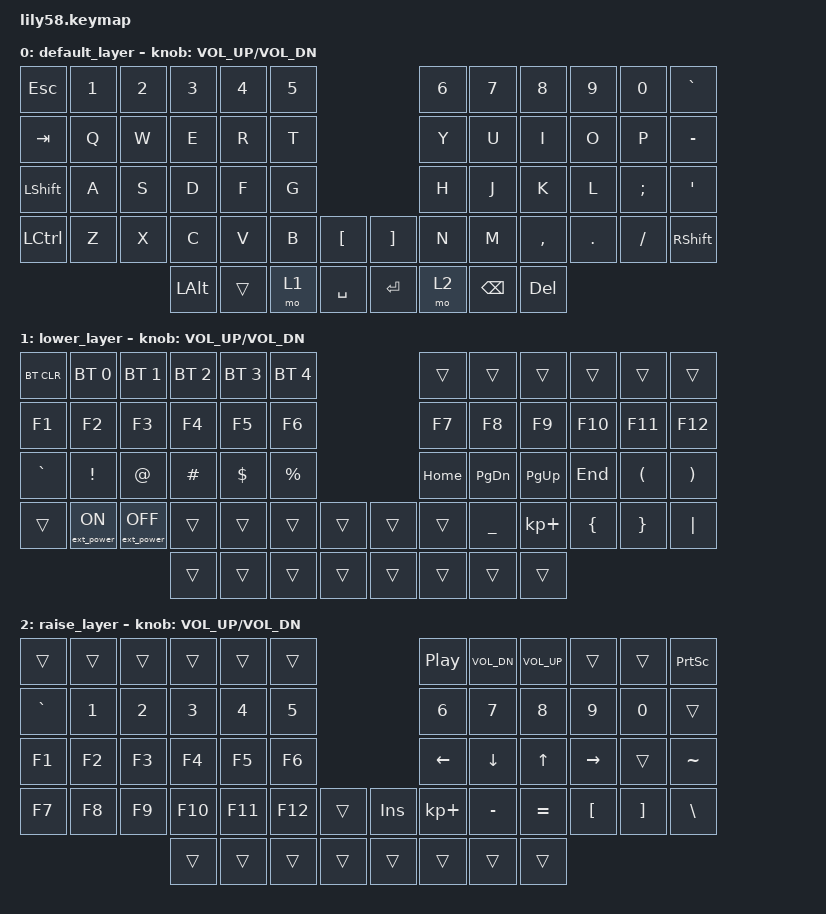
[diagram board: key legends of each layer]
/*
 * Copyright (c) 2020 The ZMK Contributors
 *
 * SPDX-License-Identifier: MIT
 */

#include <behaviors.dtsi>
#include <dt-bindings/zmk/keys.h>
#include <dt-bindings/zmk/bt.h>
#include <dt-bindings/zmk/ext_power.h>

/ {
    keymap {
        compatible = "zmk,keymap";

        default_layer {
// ------------------------------------------------------------------------------------------------------------
// |  ESC   |  1  |  2  |  3   |  4   |  5   |                   |  6   |  7    |  8    |  9   |   0   |   `   |
// |  TAB   |  Q  |  W  |  E   |  R   |  T   |                   |  Y   |  U    |  I    |  O   |   P   |   -   |
// |  SHIFT |  A  |  S  |  D   |  F   |  G   |                   |  H   |  J    |  K    |  L   |   ;   |   '   |
// |  CTRL  |  Z  |  X  |  C   |  V   |  B   |   "["  |  |  "]"  |  N   |  M    |  ,    |  .   |   /   | SHIFT |
//                      | ALT  |      | LOWER|  SPACE |  | ENTER | RAISE| BSPC  | DEL   |
            bindings = <
&kp ESC   &kp N1 &kp N2 &kp N3   &kp N4   &kp N5                     &kp N6 &kp N7   &kp N8    &kp N9  &kp N0   &kp GRAVE
&kp TAB   &kp Q  &kp W  &kp E    &kp R    &kp T                      &kp Y  &kp U    &kp I     &kp O   &kp P    &kp MINUS
&kp LSHFT &kp A  &kp S  &kp D    &kp F    &kp G                      &kp H  &kp J    &kp K     &kp L   &kp SEMI &kp SQT
&kp LCTRL &kp Z  &kp X  &kp C    &kp V    &kp B  &kp LBKT   &kp RBKT &kp N  &kp M    &kp COMMA &kp DOT &kp FSLH &kp RSHFT
                        &kp LALT &trans   &mo 1  &kp SPACE  &kp RET  &mo 2  &kp BSPC &kp DEL
            >;

            sensor-bindings = <&inc_dec_kp C_VOL_UP C_VOL_DN>;
        };

        lower_layer {
// ------------------------------------------------------------------------------------------------------------
// | BTCLR | BT1  | BT2 |  BT3 |  BT4 |  BT5 |                   |      |       |       |      |       |       |
// |  F1   |  F2  |  F3 |  F4  |  F5  |  F6  |                   |  F7  |  F8   |  F9   |  F10 |  F11  |  F12  |
// |   `   |  !   |  @  |  #   |  $   |  %   |                   | HOME | PG_DN | PG_UP |  END |   (   |   )   |
// |       | E_ON |E_OFF|      |      |      |        |  |       |      |  _    |  +    |  {   |   }   |  "|"  |
//                      |      |      |      |        |  |       |      |       |       |
            bindings = <
&bt BT_CLR &bt BT_SEL 0     &bt BT_SEL 1      &bt BT_SEL 2      &bt BT_SEL 3 &bt BT_SEL 4                 &trans    &trans    &trans        &trans    &trans    &trans
&kp F1     &kp F2           &kp F3            &kp F4            &kp F5       &kp F6                       &kp F7    &kp F8    &kp F9        &kp F10   &kp F11   &kp F12
&kp GRAVE  &kp EXCL         &kp AT            &kp HASH          &kp DOLLAR   &kp PRCNT                    &kp HOME &kp PG_DN  &kp PG_UP     &kp END   &kp LPAR  &kp RPAR
&trans     &ext_power EP_ON &ext_power EP_OFF &trans            &trans       &trans    &trans   &trans    &trans    &kp UNDER &kp KP_PLUS   &kp LBRC  &kp RBRC  &kp PIPE
                                              &trans            &trans       &trans    &trans   &trans    &trans    &trans    &trans
            >;

            sensor-bindings = <&inc_dec_kp C_VOL_UP C_VOL_DN>;
        };

        raise_layer {
// ------------------------------------------------------------------------------------------------------------
// |       |     |     |      |      |      |                   |      |       |       |      |       | PSCRN |
// |   `   |  1  |  2  |  3   |  4   |  5   |                   |  6   |   7   |   8   |  9   |   0   |       |
// |   F1  |  F2 |  F3 |  F4  |  F5  |  F6  |                   |  <-  |   v   |   ^   |  ->  |       |   ~   |
// |   F7  |  F8 |  F9 |  F10 |  F11 |  F12 |        |  |  INS  |  +   |   -   |   =   |  [   |   ]   |   \   |
//                     |      |      |      |        |  |       |      |       |       |
            bindings = <
&trans    &trans &trans &trans  &trans  &trans                       &kp C_PP    &kp C_VOL_DN &kp C_VOL_UP    &trans    &trans    &kp PSCRN
&kp GRAVE &kp N1 &kp N2 &kp N3  &kp N4  &kp N5                       &kp N6      &kp N7       &kp N8          &kp N9    &kp N0    &trans
&kp F1    &kp F2 &kp F3 &kp F4  &kp F5  &kp F6                       &kp LEFT    &kp DOWN     &kp UP          &kp RIGHT &trans    &kp TILDE
&kp F7    &kp F8 &kp F9 &kp F10 &kp F11 &kp F12   &trans   &kp INS   &kp KP_PLUS &kp MINUS    &kp EQUAL       &kp LBKT  &kp RBKT  &kp BSLH
                        &trans  &trans  &trans    &trans   &trans    &trans      &trans       &trans
            >;

            sensor-bindings = <&inc_dec_kp C_VOL_UP C_VOL_DN>;
        };
    };
};
